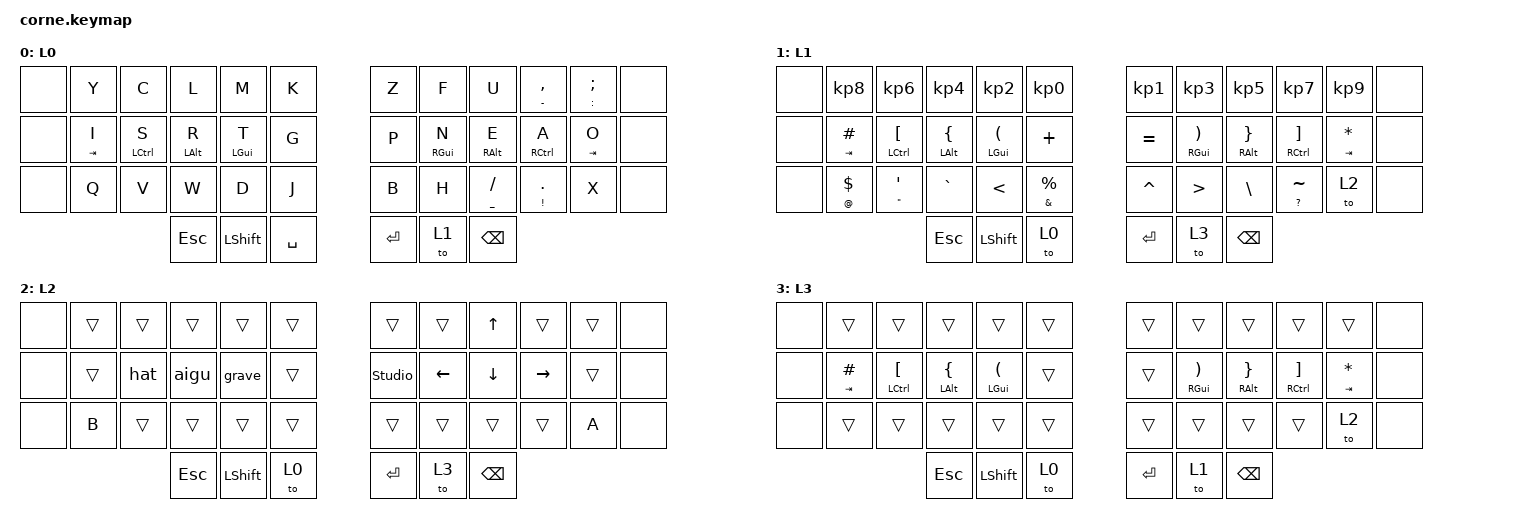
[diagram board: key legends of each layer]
/*
 * Copyright (c) 2020 The ZMK Contributors
 *
 * SPDX-License-Identifier: MIT
 */

#include <behaviors.dtsi>
#include <dt-bindings/zmk/keys.h>

/ {
    behaviors {
        hm: homerow_mods {
            compatible = "zmk,behavior-hold-tap";
            label = "HOMEROW_MODS";
            #binding-cells = <2>;
            tapping-term-ms = <250>;
            quick_tap_ms = <0>;
            flavor = "tap-preferred";
            bindings = <&kp>, <&kp>;
        };

        td: tapdance {
            compatible = "zmk,behavior-hold-tap";
            label = "TAPDANCE";
            #binding-cells = <2>;
            tapping-term-ms = <150>;
            quick_tap_ms = <0>;
            flavor = "tap-preferred";
            bindings = <&kp>, <&kp>;
        };
    };

    combos { compatible = "zmk,combos"; };

    macros {
        grave: A_grave {
            compatible = "zmk,behavior-macro";
            #binding-cells = <0>;
            bindings = <&kp LA(GRAVE)>;
            label = "A_GRAVE";
        };

        hat: a_hat {
            compatible = "zmk,behavior-macro";
            #binding-cells = <0>;
            bindings = <&kp LA(I)>;
            label = "A_HAT";
        };

        aigu: aigu {
            compatible = "zmk,behavior-macro";
            #binding-cells = <0>;
            bindings = <&kp LA(E)>;
            label = "AIGU";
        };
    };

    keymap {
        compatible = "zmk,keymap";

        L0 {
            // -----------------------------------------------------------------------------------------
            // |  TAB |  Q  |  W  |  E  |  R  |  T  |   |  Y  |  U   |  I  |  O  |  P  | BKSP |
            // | CTRL |  A  |  S  |  D  |  F  |  G  |   |  H  |  J   |  K  |  L  |  ;  |  '   |
            // | SHFT |  Z  |  X  |  C  |  V  |  B  |   |  N  |  M   |  ,  |  .  |  /  | ESC  |
            //                    | GUI | LWR | SPC |   | ENT | RSE  | ALT |

            bindings = <
&none  &kp Y      &kp C        &kp L           &kp M           &kp K        &kp Z    &kp F            &kp U                 &td MINUS COMMA      &td COLON SEMICOLON  &none
&none  &hm TAB I  &hm LCTRL S  &hm LEFT_ALT R  &hm LEFT_GUI T  &kp G        &kp P    &hm RIGHT_GUI N  &hm RIGHT_ALT E       &hm RCTRL A          &hm TAB O            &none
&none  &kp Q      &kp V        &kp W           &kp D           &kp J        &kp B    &kp H            &td UNDERSCORE SLASH  &td EXCLAMATION DOT  &kp X                &none
                               &kp ESCAPE      &kp LEFT_SHIFT  &kp SPACE    &kp RET  &to 1            &kp BACKSPACE
            >;
        };

        L1 {
            bindings = <
&none  &kp KP_NUMBER_8  &kp KP_NUMBER_6                 &kp KP_NUMBER_4          &kp KP_NUMBER_2                &kp KP_NUMBER_0          &kp KP_NUMBER_1  &kp KP_NUMBER_3                  &kp KP_NUMBER_5            &kp KP_NUMBER_7          &kp KP_NUMBER_9   &none
&none  &hm TAB HASH     &hm LCTRL LEFT_BRACKET          &hm LEFT_ALT LEFT_BRACE  &hm LEFT_GUI LEFT_PARENTHESIS  &kp PLUS                 &kp EQUAL        &hm RIGHT_GUI RIGHT_PARENTHESIS  &hm RIGHT_ALT RIGHT_BRACE  &hm RCTRL RIGHT_BRACKET  &hm TAB ASTERISK  &none
&none  &td AT DOLLAR    &td DOUBLE_QUOTES SINGLE_QUOTE  &kp GRAVE                &kp LESS_THAN                  &td AMPERSAND PERCENT    &kp CARET        &kp GREATER_THAN                 &kp BACKSLASH              &td QUESTION TILDE       &to 2             &none
                                                        &kp ESCAPE               &kp LEFT_SHIFT                 &to 0                    &kp RET          &to 3                            &kp BACKSPACE
            >;
        };

        L2 {
            bindings = <
&none  &trans  &trans  &trans      &trans          &trans    &trans          &trans          &kp UP_ARROW    &trans           &trans  &none
&none  &trans  &hat    &aigu       &grave          &trans    &studio_unlock  &kp LEFT_ARROW  &kp DOWN_ARROW  &kp RIGHT_ARROW  &trans  &none
&none  &kp B   &trans  &trans      &trans          &trans    &trans          &trans          &trans          &trans           &kp A   &none
                       &kp ESCAPE  &kp LEFT_SHIFT  &to 0     &kp RET         &to 3           &kp BACKSPACE
            >;
        };

        L3 {
            bindings = <
&none  &trans        &trans                  &trans                   &trans                         &trans    &trans   &trans                           &trans                     &trans                   &trans            &none
&none  &hm TAB HASH  &hm LCTRL LEFT_BRACKET  &hm LEFT_ALT LEFT_BRACE  &hm LEFT_GUI LEFT_PARENTHESIS  &trans    &trans   &hm RIGHT_GUI RIGHT_PARENTHESIS  &hm RIGHT_ALT RIGHT_BRACE  &hm RCTRL RIGHT_BRACKET  &hm TAB ASTERISK  &none
&none  &trans        &trans                  &trans                   &trans                         &trans    &trans   &trans                           &trans                     &trans                   &to 2             &none
                                             &kp ESCAPE               &kp LEFT_SHIFT                 &to 0     &kp RET  &to 1                            &kp BACKSPACE
            >;
        };
    };
};
